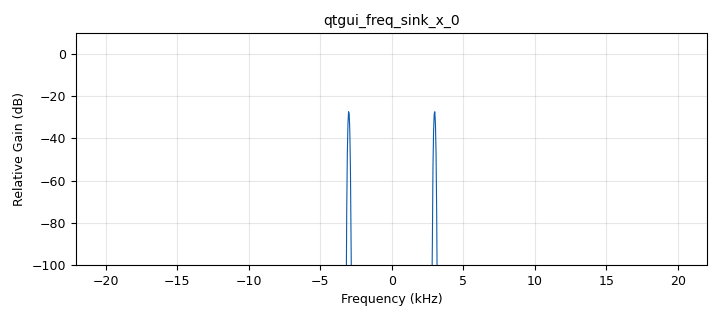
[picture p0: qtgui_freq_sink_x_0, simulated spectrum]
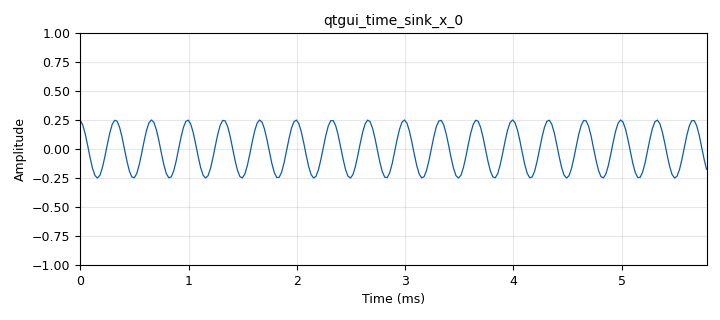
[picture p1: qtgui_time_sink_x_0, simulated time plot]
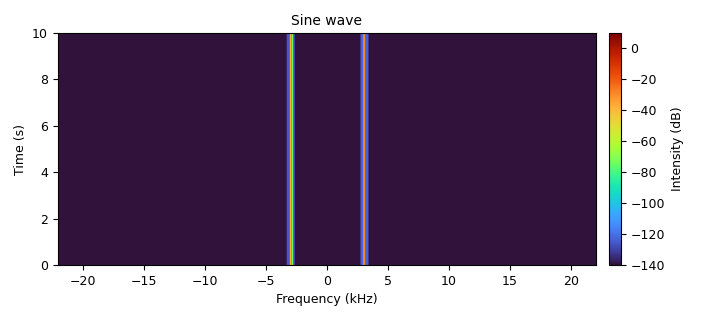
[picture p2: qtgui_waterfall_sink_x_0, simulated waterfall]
options:
  parameters:
    generate_options: qt_gui
    id: sine_wave_generator_final
    output_language: python
    title: sine_wave_generator_final
  states: {}

blocks:
- name: amplitude
  id: variable_qtgui_range
  parameters:
    gui_hint: '[5, 0, 1, 1]'
    label: Amplitude
    orient: Qt.Horizontal
    start: '0'
    step: '0.1'
    stop: '1'
    value: '0.25'
  states: {}
- name: frequency
  id: variable_qtgui_range
  parameters:
    gui_hint: '[4, 0, 1, 1]'
    label: Frequency (Hz)
    orient: Qt.Horizontal
    start: '0'
    step: '100'
    stop: fs/2
    value: '3000.0'
  states: {}
- name: fs
  id: variable
  parameters:
    value: '44100'
  states: {}
- name: analog_sig_source_x_0
  id: analog_sig_source_x
  parameters:
    amp: amplitude
    freq: frequency
    offset: '0'
    phase: '0'
    samp_rate: fs
    type: float
    waveform: analog.GR_COS_WAVE
  states: {}
- name: blocks_throttle_0
  id: blocks_throttle
  parameters:
    samples_per_second: fs
    type: float
  states: {}
- name: qtgui_freq_sink_x_0
  id: qtgui_freq_sink_x
  parameters:
    axislabels: 'False'
    bw: fs
    fc: '0'
    fftsize: '1024'
    gui_hint: '[3, 0, 1, 2]'
    legend: 'False'
    name: ''
    type: float
    wintype: firdes.WIN_BLACKMAN_hARRIS
    ymin: '-100'
  states: {}
- name: qtgui_time_sink_x_0
  id: qtgui_time_sink_x
  parameters:
    axislabels: 'False'
    gui_hint: '[4, 1, 2, 1]'
    label1: ''
    legend: 'False'
    size: '256'
    srate: fs
    type: float
  states: {}
- name: qtgui_waterfall_sink_x_0
  id: qtgui_waterfall_sink_x
  parameters:
    bw: fs
    fc: '0'
    fftsize: 1024*2
    gui_hint: '[0, 0, 3, 2]'
    name: Sine wave
    showports: 'True'
    type: float
    update_time: '0.05'
    wintype: firdes.WIN_BLACKMAN_hARRIS
  states: {}

connections:
- [analog_sig_source_x_0, '0', blocks_throttle_0, '0']
- [blocks_throttle_0, '0', qtgui_freq_sink_x_0, '0']
- [blocks_throttle_0, '0', qtgui_time_sink_x_0, '0']
- [blocks_throttle_0, '0', qtgui_waterfall_sink_x_0, '0']

metadata:
  file_format: 1
